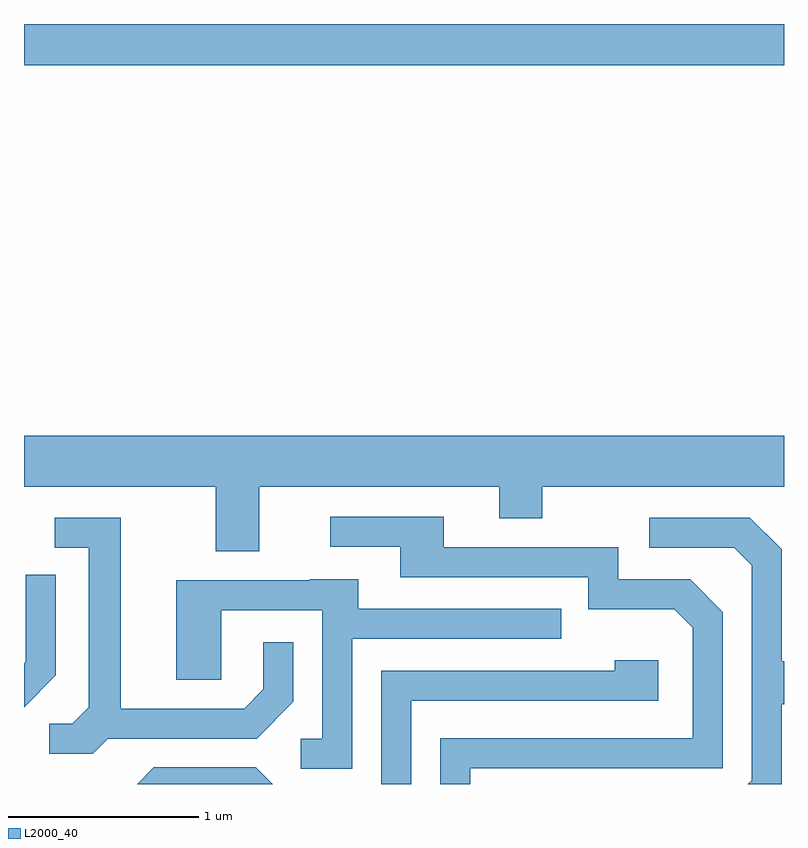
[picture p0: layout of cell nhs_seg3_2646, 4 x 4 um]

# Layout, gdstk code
import gdstk
lib = gdstk.Library(unit=1e-6, precision=1e-09)
def R(c, l, rs):  # rectangles x0, y0, x1, y1
    for r in rs: c.add(gdstk.rectangle(r[:2], r[2:], *l))
def P(c, l, *ps):  # polygons
    for p in ps: c.add(gdstk.Polygon(p, *l))
L2000_40 = (2000, 40)

nhs_seg3_2646 = lib.new_cell('nhs_seg3_2646')
R(nhs_seg3_2646, L2000_40, [(261.611,1243.676,265.611,1243.892)])
P(nhs_seg3_2646, L2000_40, [(262.849,1241.456),(264.111,1241.456),(264.111,1241.291),(264.339,1241.291),(264.339,1241.456),(265.611,1241.456),(265.611,1241.724),(261.611,1241.724),(261.611,1241.456),(262.621,1241.456),(262.621,1241.116),(262.849,1241.116)],
  [(263.959,1239.976),(265.289,1239.976),(265.289,1240.797),(265.117,1240.969),(264.739,1240.969),(264.739,1241.139),(263.819,1241.139),(263.819,1241.299),(263.223,1241.299),(263.223,1241.141),(263.591,1241.141),(263.591,1240.981),(264.581,1240.981),(264.581,1240.811),(265.034,1240.811),(265.131,1240.714),(265.131,1240.134),(263.801,1240.134),(263.801,1239.892),(263.959,1239.892)],
  [(262.052,1240.131),(262.837,1240.131),(263.029,1240.324),(263.029,1240.638),(262.871,1240.638),(262.871,1240.392),(262.769,1240.289),(262.119,1240.289),(262.119,1241.294),(261.772,1241.294),(261.772,1241.136),(261.951,1241.136),(261.951,1240.297),(261.864,1240.209),(261.743,1240.209),(261.743,1240.051),(261.972,1240.051)],
  [(265.599,1240.311),(265.611,1240.311),(265.611,1240.539),(265.599,1240.539),(265.599,1241.127),(265.432,1241.294),(264.903,1241.294),(264.903,1241.136),(265.349,1241.136),(265.441,1241.044),(265.441,1239.912),(265.421,1239.892),(265.599,1239.892)],
  [(261.779,1240.464),(261.779,1240.993),(261.621,1240.993),(261.621,1240.537),(261.611,1240.527),(261.611,1240.296)],
  [(263.339,1240.656),(264.438,1240.656),(264.438,1240.814),(263.369,1240.814),(263.369,1240.969),(263.115,1240.969),(263.115,1240.964),(262.411,1240.964),(262.411,1240.441),(262.649,1240.441),(262.649,1240.806),(263.181,1240.806),(263.181,1240.129),(263.068,1240.129),(263.068,1239.971),(263.339,1239.971)],
  [(263.649,1240.331),(264.949,1240.331),(264.949,1240.544),(264.721,1240.544),(264.721,1240.489),(263.491,1240.489),(263.491,1239.892),(263.649,1239.892)],
  [(262.832,1239.979),(262.294,1239.979),(262.207,1239.892),(262.919,1239.892)])

lib.write_gds('nhs_seg3_2646.gds')
